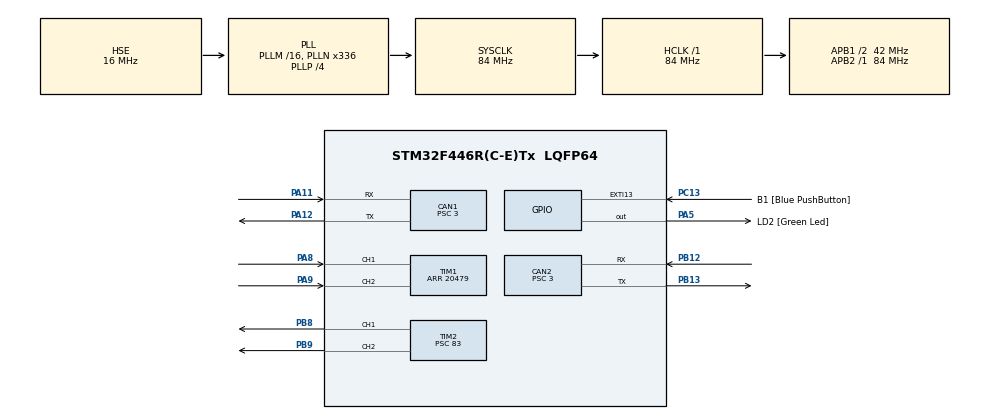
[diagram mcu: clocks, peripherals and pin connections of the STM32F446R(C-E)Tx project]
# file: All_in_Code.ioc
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CAN1.ABOM=ENABLE
CAN1.BS1=CAN_BS1_10TQ
CAN1.BS2=CAN_BS2_3TQ
CAN1.CalculateBaudRate=1000000
CAN1.CalculateTimeBit=1000
CAN1.CalculateTimeQuantum=71.42857142857143
CAN1.Prescaler=3
CAN1.SJW=CAN_SJW_3TQ
CAN2.ABOM=ENABLE
CAN2.BS1=CAN_BS1_10TQ
CAN2.BS2=CAN_BS2_3TQ
CAN2.CalculateBaudRate=1000000
CAN2.CalculateTimeBit=1000
CAN2.CalculateTimeQuantum=71.42857142857143
CAN2.Prescaler=3
CAN2.SJW=CAN_SJW_3TQ
Mcu.Family=STM32F4
Mcu.Name=STM32F446R(C-E)Tx
Mcu.Package=LQFP64
NVIC.CAN1_RX0_IRQn=true\:0\:0\:false\:false\:true\:true\:true\:true
NVIC.CAN2_RX0_IRQn=true\:0\:0\:false\:false\:true\:true\:true\:true
NVIC.PriorityGroup=NVIC_PRIORITYGROUP_0
NVIC.TIM7_IRQn=true\:0\:0\:false\:false\:true\:true\:true\:true
PA11.Mode=CAN_Activate
PA11.Signal=CAN1_RX
PA12.Mode=CAN_Activate
PA12.Signal=CAN1_TX
PA13.GPIO_Label=TMS
PA13.Mode=Serial_Wire
PA13.Signal=SYS_JTMS-SWDIO
PA14.GPIO_Label=TCK
PA14.Mode=Serial_Wire
PA14.Signal=SYS_JTCK-SWCLK
PA5.GPIO_Label=LD2 [Green Led]
PA5.Signal=GPIO_Output
PA8.Signal=S_TIM1_CH1
PA9.Signal=S_TIM1_CH2
PB12.Mode=CAN_Activate
PB12.Signal=CAN2_RX
PB13.Mode=CAN_Activate
PB13.Signal=CAN2_TX
PB3.GPIO_Label=SWO
PB3.Signal=SYS_JTDO-SWO
PB8.Signal=S_TIM2_CH1_ETR
PB9.Signal=S_TIM2_CH2
PC13.GPIO_Label=B1 [Blue PushButton]
PC13.GPIO_ModeDefaultEXTI=GPIO_MODE_IT_FALLING
PC13.Signal=GPXTI13
PC14-OSC32_IN.Mode=LSE-External-Oscillator
PC14-OSC32_IN.Signal=RCC_OSC32_IN
PC15-OSC32_OUT.Mode=LSE-External-Oscillator
PC15-OSC32_OUT.Signal=RCC_OSC32_OUT
PH0-OSC_IN.Mode=HSE-External-Oscillator
PH0-OSC_IN.Signal=RCC_OSC_IN
PH1-OSC_OUT.Mode=HSE-External-Oscillator
PH1-OSC_OUT.Signal=RCC_OSC_OUT
ProjectManager.HeapSize=0x200
ProjectManager.StackSize=0x400
ProjectManager.TargetToolchain=STM32CubeIDE
RCC.48MHZClocksFreq_Value=84000000
RCC.AHBFreq_Value=84000000
RCC.APB1CLKDivider=RCC_HCLK_DIV2
RCC.APB1Freq_Value=42000000
RCC.APB1TimFreq_Value=84000000
RCC.APB2Freq_Value=84000000
RCC.APB2TimFreq_Value=84000000
RCC.CortexFreq_Value=84000000
RCC.FLatency-AdvancedSettings=FLASH_LATENCY_2
RCC.HCLKFreq_Value=84000000
RCC.HSE_VALUE=16000000
RCC.HSI_VALUE=16000000
RCC.PLLN=336
RCC.PLLP=RCC_PLLP_DIV4
RCC.PLLSourceVirtual=RCC_PLLSOURCE_HSE
RCC.SYSCLKFreq_VALUE=84000000
RCC.SYSCLKSource=RCC_SYSCLKSOURCE_PLLCLK
RCC.USBFreq_Value=168000000
RCC.VCOOutputFreq_Value=336000000
SH.S_TIM1_CH1.0=TIM1_CH1,Encoder_Interface
SH.S_TIM1_CH2.0=TIM1_CH2,Encoder_Interface
SH.S_TIM2_CH1_ETR.0=TIM2_CH1,PWM Generation1 CH1
SH.S_TIM2_CH2.0=TIM2_CH2,PWM Generation2 CH2
TIM1.Period=20479
TIM2.AutoReloadPreload=TIM_AUTORELOAD_PRELOAD_ENABLE
TIM2.Channel-PWM\ Generation1\ CH1=TIM_CHANNEL_1
TIM2.Channel-PWM\ Generation2\ CH2=TIM_CHANNEL_2
TIM2.Period=19999
TIM2.Prescaler=83
TIM7.Period=999
TIM7.Prescaler=83
VP_TIM7_VS_ClockSourceINT.Mode=Enable_Timer
board=NUCLEO-F446RE

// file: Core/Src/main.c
/* USER CODE BEGIN Header */
/**
  ******************************************************************************
  * @file           : main.c
  * @brief          : Main program body
  ******************************************************************************
  * @attention
  *
  * Copyright (c) 2026 STMicroelectronics.
  * All rights reserved.
  *
  * This software is licensed under terms that can be found in the LICENSE file
  * in the root directory of this software component.
  * If no LICENSE file comes with this software, it is provided AS-IS.
  *
  ******************************************************************************
  */
/* USER CODE END Header */
#include "main.h"

/* USER CODE BEGIN Includes */
#include "motor_config.h"
#include "can_bus.h"
#include "can_send.h"
#include "current_ctrl.h"
#include "velocity_ctrl.h"
#include "position_ctrl.h"
#include "grip_ctrl.h"
#include "io_ctrl.h"
/* USER CODE END Includes */

CAN_HandleTypeDef hcan1;
CAN_HandleTypeDef hcan2;

TIM_HandleTypeDef htim1;
TIM_HandleTypeDef htim2;
TIM_HandleTypeDef htim7;

void SystemClock_Config(void);
static void MX_GPIO_Init(void);
static void MX_CAN1_Init(void);
static void MX_CAN2_Init(void);
static void MX_TIM7_Init(void);
static void MX_TIM1_Init(void);
static void MX_TIM2_Init(void);

/* USER CODE BEGIN 0 */
//エンコーダー・サーボを開始してから1ms周期のTIM7を動かす
void TIM_Init(void)
{
	Encoder_Init();
	Servo_Init();
	HAL_TIM_Base_Start_IT(&htim7);
}

//1msごとの制御
void HAL_TIM_PeriodElapsedCallback(TIM_HandleTypeDef *htim)
{
	static uint32_t fb_tick = 0;

	if (htim == &htim7)
	{
		Origin_Reset_Process();		//原点リセットの要求があれば実行
		Encoder_Update();			//VESCの軸: エンコーダーから角度・位置・速度
		Read_LimitSwitch();			//リミットスイッチを読む

		for (int i = 0; i < MOTOR_NUM; i++)
		{
			if (mode[i] == POSITION)
			{
				Pos_P_control(i);
				if (!Motor_Use_Vesc_Rpm(i)) vel_PID_control(i);
			}
			else if (mode[i] == VELOCITY)
			{
				if (!Motor_Use_Vesc_Rpm(i)) vel_PID_control(i);
			}
			else if (mode[i] == GRIP)
			{
				Grip_Axis_Update(i);
			}
		}

		Limit_Switch_Apply();		//押されているスイッチの向きへは動かさない
		send_servo_data();			//サーボのPWMを更新

		send_motor_current_data();	//CAN2: モーターへ電流・RPM指令

		if (++fb_tick >= FB_TX_PERIOD_MS)
		{
			fb_tick = 0;
			for (int i = 0; i < MOTOR_NUM; i++)
			{
				send_feedback_data(i);	//CAN1: PCへフィードバック
			}
			send_limit_switch_data();
			send_mode_data();
		}

		Frame_Count_Reset();

		CAN_Safe_Task(&hcan1);
		CAN_Safe_Task(&hcan2);
	}
}
/* USER CODE END 0 */

int main(void)
{

  /* MCU Configuration--------------------------------------------------------*/

  /* Reset of all peripherals, Initializes the Flash interface and the Systick. */
  HAL_Init();

  /* Configure the system clock */
  SystemClock_Config();

  /* Initialize all configured peripherals */
  MX_GPIO_Init();
  MX_CAN1_Init();
  MX_CAN2_Init();
  MX_TIM7_Init();
  MX_TIM1_Init();
  MX_TIM2_Init();
  /* USER CODE BEGIN 2 */
  Motor_Mode_Init();
  CAN_Init();
  TIM_Init();
  /* USER CODE END 2 */

  /* Infinite loop */
  while (1)
  {

    /* USER CODE BEGIN 3 */
    CAN_Monitor(&hcan1);	//バスオフ・送信詰まりなら再起動
    CAN_Monitor(&hcan2);
  }
  /* USER CODE END 3 */
}

void SystemClock_Config(void)
{
  RCC_OscInitTypeDef RCC_OscInitStruct = {0};
  RCC_ClkInitTypeDef RCC_ClkInitStruct = {0};

  /** Configure the main internal regulator output voltage
  */
  __HAL_RCC_PWR_CLK_ENABLE();
  __HAL_PWR_VOLTAGESCALING_CONFIG(PWR_REGULATOR_VOLTAGE_SCALE3);

  /** Initializes the RCC Oscillators according to the specified parameters
  * in the RCC_OscInitTypeDef structure.
  */
  RCC_OscInitStruct.OscillatorType = RCC_OSCILLATORTYPE_HSE;
  RCC_OscInitStruct.HSEState = RCC_HSE_ON;
  RCC_OscInitStruct.PLL.PLLState = RCC_PLL_ON;
  RCC_OscInitStruct.PLL.PLLSource = RCC_PLLSOURCE_HSE;
  RCC_OscInitStruct.PLL.PLLM = 16;
  RCC_OscInitStruct.PLL.PLLN = 336;
  RCC_OscInitStruct.PLL.PLLP = RCC_PLLP_DIV4;
  RCC_OscInitStruct.PLL.PLLQ = 2;
  RCC_OscInitStruct.PLL.PLLR = 2;
  if (HAL_RCC_OscConfig(&RCC_OscInitStruct) != HAL_OK)
  {
    Error_Handler();
  }

  /** Initializes the CPU, AHB and APB buses clocks
  */
  RCC_ClkInitStruct.ClockType = RCC_CLOCKTYPE_HCLK|RCC_CLOCKTYPE_SYSCLK
                              |RCC_CLOCKTYPE_PCLK1|RCC_CLOCKTYPE_PCLK2;
  RCC_ClkInitStruct.SYSCLKSource = RCC_SYSCLKSOURCE_PLLCLK;
  RCC_ClkInitStruct.AHBCLKDivider = RCC_SYSCLK_DIV1;
  RCC_ClkInitStruct.APB1CLKDivider = RCC_HCLK_DIV2;
  RCC_ClkInitStruct.APB2CLKDivider = RCC_HCLK_DIV1;

  if (HAL_RCC_ClockConfig(&RCC_ClkInitStruct, FLASH_LATENCY_2) != HAL_OK)
  {
    Error_Handler();
  }
}

static void MX_CAN1_Init(void)
{

  hcan1.Instance = CAN1;
  hcan1.Init.Prescaler = 3;
  hcan1.Init.Mode = CAN_MODE_NORMAL;
  hcan1.Init.SyncJumpWidth = CAN_SJW_3TQ;
  hcan1.Init.TimeSeg1 = CAN_BS1_10TQ;
  hcan1.Init.TimeSeg2 = CAN_BS2_3TQ;
  hcan1.Init.TimeTriggeredMode = DISABLE;
  hcan1.Init.AutoBusOff = ENABLE;
  hcan1.Init.AutoWakeUp = DISABLE;
  hcan1.Init.AutoRetransmission = DISABLE;
  hcan1.Init.ReceiveFifoLocked = DISABLE;
  hcan1.Init.TransmitFifoPriority = DISABLE;
  if (HAL_CAN_Init(&hcan1) != HAL_OK)
  {
    Error_Handler();
  }

}

static void MX_CAN2_Init(void)
{

  hcan2.Instance = CAN2;
  hcan2.Init.Prescaler = 3;
  hcan2.Init.Mode = CAN_MODE_NORMAL;
  hcan2.Init.SyncJumpWidth = CAN_SJW_3TQ;
  hcan2.Init.TimeSeg1 = CAN_BS1_10TQ;
  hcan2.Init.TimeSeg2 = CAN_BS2_3TQ;
  hcan2.Init.TimeTriggeredMode = DISABLE;
  hcan2.Init.AutoBusOff = ENABLE;
  hcan2.Init.AutoWakeUp = DISABLE;
  hcan2.Init.AutoRetransmission = DISABLE;
  hcan2.Init.ReceiveFifoLocked = DISABLE;
  hcan2.Init.TransmitFifoPriority = DISABLE;
  if (HAL_CAN_Init(&hcan2) != HAL_OK)
  {
    Error_Handler();
  }

}

static void MX_TIM1_Init(void)
{

  TIM_Encoder_InitTypeDef sConfig = {0};
  TIM_MasterConfigTypeDef sMasterConfig = {0};

  htim1.Instance = TIM1;
  htim1.Init.Prescaler = 0;
  htim1.Init.CounterMode = TIM_COUNTERMODE_UP;
  htim1.Init.Period = 20479;
  htim1.Init.ClockDivision = TIM_CLOCKDIVISION_DIV1;
  htim1.Init.RepetitionCounter = 0;
  htim1.Init.AutoReloadPreload = TIM_AUTORELOAD_PRELOAD_DISABLE;
  sConfig.EncoderMode = TIM_ENCODERMODE_TI1;
  sConfig.IC1Polarity = TIM_ICPOLARITY_RISING;
  sConfig.IC1Selection = TIM_ICSELECTION_DIRECTTI;
  sConfig.IC1Prescaler = TIM_ICPSC_DIV1;
  sConfig.IC1Filter = 0;
  sConfig.IC2Polarity = TIM_ICPOLARITY_RISING;
  sConfig.IC2Selection = TIM_ICSELECTION_DIRECTTI;
  sConfig.IC2Prescaler = TIM_ICPSC_DIV1;
  sConfig.IC2Filter = 0;
  if (HAL_TIM_Encoder_Init(&htim1, &sConfig) != HAL_OK)
  {
    Error_Handler();
  }
  sMasterConfig.MasterOutputTrigger = TIM_TRGO_RESET;
  sMasterConfig.MasterSlaveMode = TIM_MASTERSLAVEMODE_DISABLE;
  if (HAL_TIMEx_MasterConfigSynchronization(&htim1, &sMasterConfig) != HAL_OK)
  {
    Error_Handler();
  }

}

static void MX_TIM2_Init(void)
{

  TIM_MasterConfigTypeDef sMasterConfig = {0};
  TIM_OC_InitTypeDef sConfigOC = {0};

  htim2.Instance = TIM2;
  htim2.Init.Prescaler = 83;
  htim2.Init.CounterMode = TIM_COUNTERMODE_UP;
  htim2.Init.Period = 19999;
  htim2.Init.ClockDivision = TIM_CLOCKDIVISION_DIV1;
  htim2.Init.AutoReloadPreload = TIM_AUTORELOAD_PRELOAD_ENABLE;
  if (HAL_TIM_PWM_Init(&htim2) != HAL_OK)
  {
    Error_Handler();
  }
  sMasterConfig.MasterOutputTrigger = TIM_TRGO_RESET;
  sMasterConfig.MasterSlaveMode = TIM_MASTERSLAVEMODE_DISABLE;
  if (HAL_TIMEx_MasterConfigSynchronization(&htim2, &sMasterConfig) != HAL_OK)
  {
    Error_Handler();
  }
  sConfigOC.OCMode = TIM_OCMODE_PWM1;
  sConfigOC.Pulse = 0;
  sConfigOC.OCPolarity = TIM_OCPOLARITY_HIGH;
  sConfigOC.OCFastMode = TIM_OCFAST_DISABLE;
  if (HAL_TIM_PWM_ConfigChannel(&htim2, &sConfigOC, TIM_CHANNEL_1) != HAL_OK)
  {
    Error_Handler();
  }
  if (HAL_TIM_PWM_ConfigChannel(&htim2, &sConfigOC, TIM_CHANNEL_2) != HAL_OK)
  {
    Error_Handler();
  }
  HAL_TIM_MspPostInit(&htim2);

}

static void MX_TIM7_Init(void)
{

  TIM_MasterConfigTypeDef sMasterConfig = {0};

  htim7.Instance = TIM7;
  htim7.Init.Prescaler = 83;
  htim7.Init.CounterMode = TIM_COUNTERMODE_UP;
  htim7.Init.Period = 999;
  htim7.Init.AutoReloadPreload = TIM_AUTORELOAD_PRELOAD_DISABLE;
  if (HAL_TIM_Base_Init(&htim7) != HAL_OK)
  {
    Error_Handler();
  }
  sMasterConfig.MasterOutputTrigger = TIM_TRGO_RESET;
  sMasterConfig.MasterSlaveMode = TIM_MASTERSLAVEMODE_DISABLE;
  if (HAL_TIMEx_MasterConfigSynchronization(&htim7, &sMasterConfig) != HAL_OK)
  {
    Error_Handler();
  }

}

static void MX_GPIO_Init(void)
{
  GPIO_InitTypeDef GPIO_InitStruct = {0};

  /* GPIO Ports Clock Enable */
  __HAL_RCC_GPIOC_CLK_ENABLE();
  __HAL_RCC_GPIOH_CLK_ENABLE();
  __HAL_RCC_GPIOA_CLK_ENABLE();
  __HAL_RCC_GPIOB_CLK_ENABLE();

  /*Configure GPIO pin Output Level */
  HAL_GPIO_WritePin(LD2_GPIO_Port, LD2_Pin, GPIO_PIN_RESET);

  /*Configure GPIO pin : B1_Pin */
  GPIO_InitStruct.Pin = B1_Pin;
  GPIO_InitStruct.Mode = GPIO_MODE_IT_FALLING;
  GPIO_InitStruct.Pull = GPIO_NOPULL;
  HAL_GPIO_Init(B1_GPIO_Port, &GPIO_InitStruct);

  /*Configure GPIO pin : LD2_Pin */
  GPIO_InitStruct.Pin = LD2_Pin;
  GPIO_InitStruct.Mode = GPIO_MODE_OUTPUT_PP;
  GPIO_InitStruct.Pull = GPIO_NOPULL;
  GPIO_InitStruct.Speed = GPIO_SPEED_FREQ_LOW;
  HAL_GPIO_Init(LD2_GPIO_Port, &GPIO_InitStruct);

}

void Error_Handler(void)
{
  __disable_irq();
  while (1)
  {
  }
}
